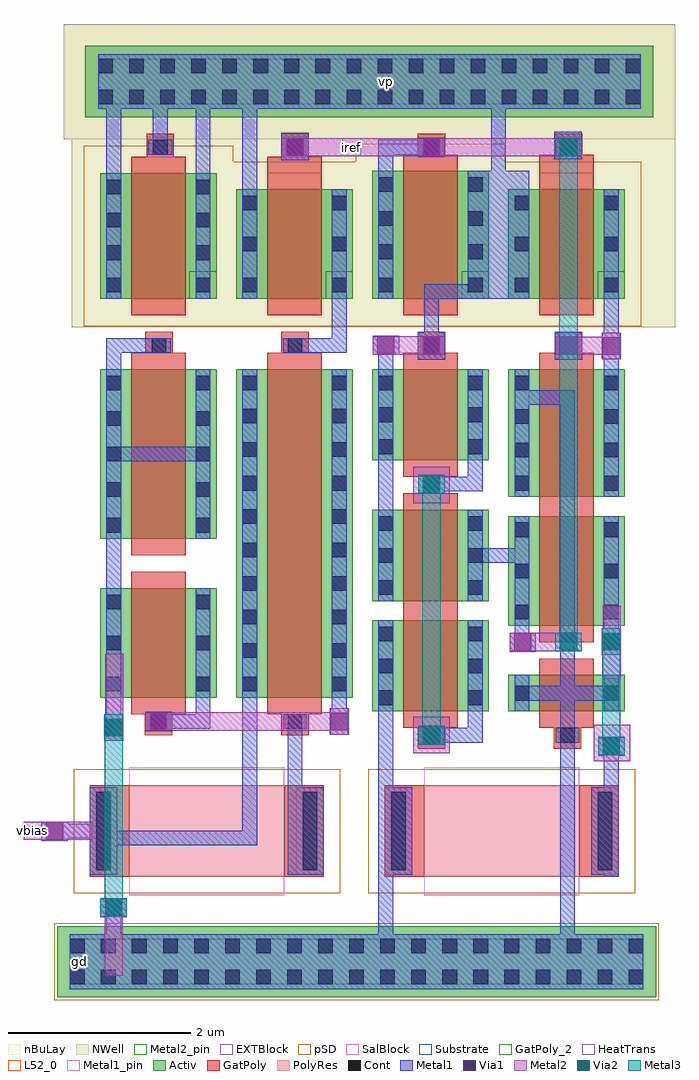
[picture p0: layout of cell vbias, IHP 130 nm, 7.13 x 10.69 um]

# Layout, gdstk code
from math import pi, radians
import gdstk
lib = gdstk.Library(unit=1e-6, precision=1e-09)
def R(c, l, rs):  # rectangles x0, y0, x1, y1
    for r in rs: c.add(gdstk.rectangle(r[:2], r[2:], *l))
def A(c, l, x, y, w, h, nx, ny, dx, dy):  # array of equal rectangles
    R(c, l, [(x+i*dx, y+j*dy, x+i*dx+w, y+j*dy+h) for i in range(nx) for j in range(ny)])
Activ = (1, 0)
GatPoly = (5, 0)
GatPoly_2 = (5, 2)
Cont = (6, 0)
Metal1 = (8, 0)
Metal1_pin = (8, 2)
Metal2 = (10, 0)
Metal2_pin = (10, 2)
pSD = (14, 0)
Via1 = (19, 0)
SalBlock = (28, 0)
Via2 = (29, 0)
Metal3 = (30, 0)
NWell = (31, 0)
nBuLay = (32, 0)
Substrate = (40, 0)
HeatTrans = (51, 0)
L52_0 = (52, 0)
EXTBlock = (111, 0)
PolyRes = (128, 0)

via_19 = lib.new_cell('Via$19')
R(via_19, Metal1, [(-0.145,-0.105,0.145,0.105)])
R(via_19, Metal2, [(-0.145,-0.1,0.145,0.1)])
R(via_19, Via1, [(-0.095,-0.095,0.095,0.095)])

via_18 = lib.new_cell('Via$18')
R(via_18, Metal1, [(-0.145,-0.105,0.145,0.105)])
R(via_18, Metal2, [(-0.145,-0.1,0.145,0.1)])
R(via_18, Via1, [(-0.095,-0.095,0.095,0.095)])

nmos_5 = lib.new_cell('nmos$5')
R(nmos_5, Activ, [(0,0,0.3,0.3), (0,0,1.28,3.6), (0.98,0,1.28,0.3)])
R(nmos_5, GatPoly, [(0.34,-0.18,0.94,3.78)])
R(nmos_5, GatPoly_2, [(0.34,-0.18,0.94,3.78)])
A(nmos_5, Cont, 0.07, 0.07, 0.16, 0.16, 1, 3, 0, 0.365)
A(nmos_5, Cont, 1.05, 0.07, 0.16, 0.16, 1, 3, 0, 0.365)
A(nmos_5, Cont, 0.07, 1.17, 0.16, 0.16, 1, 3, 0, 0.365)
A(nmos_5, Cont, 1.05, 1.17, 0.16, 0.16, 1, 3, 0, 0.365)
A(nmos_5, Cont, 0.07, 2.27, 0.16, 0.16, 1, 3, 0, 0.365)
A(nmos_5, Cont, 1.05, 2.27, 0.16, 0.16, 1, 3, 0, 0.365)
R(nmos_5, Cont, [(0.07,3.37,0.23,3.53), (1.05,3.37,1.21,3.53)])
R(nmos_5, Metal1, [(0.07,0,0.23,3.6), (1.05,0,1.21,3.6)])
R(nmos_5, Metal1_pin, [(0.07,0,0.23,3.6), (1.05,0,1.21,3.6)])
R(nmos_5, HeatTrans, [(0.34,-0.18,0.94,3.78)])
nmos_5.add(gdstk.Label('nmos', (0.64,1.8), layer=63, texttype=0))
nmos_5.add(gdstk.Label('nmos', (0.64,1.8), layer=51, texttype=0))

curr_source_vbias = lib.new_cell('curr_source_vbias')
A(curr_source_vbias, Activ, 1.815, -2.415, 0.78, 0.78, 8, 1, 0.34, 0)
A(curr_source_vbias, Activ, 1.785, 7.225, 0.78, 0.78, 8, 1, 0.34, 0)
R(curr_source_vbias, Activ, [(1.865,0.715,2.165,1.015), (1.865,0.715,3.145,1.715), (2.845,0.715,3.145,1.015), (3.355,0.715,4.635,1.115), (3.355,0.715,3.655,1.015), (4.335,0.715,4.635,1.015), (3.355,1.655,3.655,1.955), (3.355,1.655,4.635,2.855), (4.335,1.655,4.635,1.955), (1.865,1.925,2.165,2.225), (1.865,1.925,3.145,2.925), (2.845,1.925,3.145,2.225), (3.355,3.065,3.655,3.365), (3.355,3.065,4.635,4.465), (4.335,3.065,4.635,3.365), (1.865,3.465,2.165,3.765), (1.865,3.465,3.145,4.465), (2.845,3.465,3.145,3.765), (1.865,5.235,2.165,5.535), (1.865,5.235,3.145,6.635), (2.845,5.235,3.145,5.535), (3.355,5.235,3.655,5.535), (3.355,5.235,4.635,6.435), (4.335,5.235,4.635,5.535)])
R(curr_source_vbias, GatPoly, [(2.005,-1.095,2.235,-0.095), (2.235,-1.095,2.435,-0.095), (4.135,-1.095,4.335,-0.095), (4.335,-1.095,4.565,-0.095), (2.365,0.305,2.665,0.605), (3.855,0.305,4.155,0.605), (2.205,0.535,2.805,1.895), (3.695,0.535,4.295,1.295), (3.695,1.475,4.295,3.035), (2.205,1.745,2.805,3.105), (3.695,2.885,4.295,4.645), (2.205,3.285,2.805,4.645), (2.365,4.575,2.665,4.875), (3.865,4.575,4.165,4.875), (2.205,5.055,2.805,6.815), (3.695,5.055,4.295,6.615), (3.695,6.615,4.295,6.815), (2.365,6.745,2.665,7.045), (3.865,6.745,4.165,7.045)])
R(curr_source_vbias, GatPoly_2, [(2.205,0.535,2.805,1.895), (3.695,0.535,4.295,1.295), (3.695,1.475,4.295,3.035), (2.205,1.745,2.805,3.105), (3.695,2.885,4.295,4.645), (2.205,3.285,2.805,4.645)])
A(curr_source_vbias, Cont, 1.935, 0.785, 0.16, 0.16, 1, 3, 0, 0.35)
A(curr_source_vbias, Cont, 2.915, 0.785, 0.16, 0.16, 1, 3, 0, 0.35)
A(curr_source_vbias, Cont, 3.425, 1.725, 0.16, 0.16, 1, 3, 0, 0.45)
A(curr_source_vbias, Cont, 4.405, 1.725, 0.16, 0.16, 1, 3, 0, 0.45)
A(curr_source_vbias, Cont, 1.935, 1.995, 0.16, 0.16, 1, 3, 0, 0.35)
A(curr_source_vbias, Cont, 2.915, 1.995, 0.16, 0.16, 1, 3, 0, 0.35)
A(curr_source_vbias, Cont, 3.425, 3.135, 0.16, 0.16, 1, 3, 0, 0.365)
A(curr_source_vbias, Cont, 4.405, 3.135, 0.16, 0.16, 1, 3, 0, 0.365)
A(curr_source_vbias, Cont, 1.935, 3.535, 0.16, 0.16, 1, 3, 0, 0.35)
A(curr_source_vbias, Cont, 2.915, 3.535, 0.16, 0.16, 1, 3, 0, 0.35)
A(curr_source_vbias, Cont, 1.935, 5.305, 0.16, 0.16, 1, 3, 0, 0.365)
A(curr_source_vbias, Cont, 2.915, 5.305, 0.16, 0.16, 1, 3, 0, 0.365)
A(curr_source_vbias, Cont, 3.425, 5.305, 0.16, 0.16, 1, 3, 0, 0.45)
A(curr_source_vbias, Cont, 4.405, 5.305, 0.16, 0.16, 1, 3, 0, 0.45)
R(curr_source_vbias, Cont, [(1.955,-2.275,2.115,-2.115), (2.295,-2.275,2.455,-2.115), (2.295,-2.275,2.455,-2.115), (2.635,-2.275,2.795,-2.115), (2.635,-2.275,2.795,-2.115), (2.975,-2.275,3.135,-2.115), (2.975,-2.275,3.135,-2.115), (3.315,-2.275,3.475,-2.115), (3.315,-2.275,3.475,-2.115), (3.655,-2.275,3.815,-2.115), (3.655,-2.275,3.815,-2.115), (3.995,-2.275,4.155,-2.115), (3.995,-2.275,4.155,-2.115), (4.335,-2.275,4.495,-2.115), (4.335,-2.275,4.495,-2.115), (4.675,-2.275,4.835,-2.115), (1.955,-1.935,2.115,-1.775), (2.295,-1.935,2.455,-1.775), (2.295,-1.935,2.455,-1.775), (2.635,-1.935,2.795,-1.775), (2.635,-1.935,2.795,-1.775), (2.975,-1.935,3.135,-1.775), (2.975,-1.935,3.135,-1.775), (3.315,-1.935,3.475,-1.775), (3.315,-1.935,3.475,-1.775), (3.655,-1.935,3.815,-1.775), (3.655,-1.935,3.815,-1.775), (3.995,-1.935,4.155,-1.775), (3.995,-1.935,4.155,-1.775), (4.335,-1.935,4.495,-1.775), (4.335,-1.935,4.495,-1.775), (4.675,-1.935,4.835,-1.775), (2.075,-1.025,2.235,-0.165), (4.335,-1.025,4.495,-0.165), (2.435,0.375,2.595,0.535), (3.925,0.375,4.085,0.535), (3.425,0.835,3.585,0.995), (4.405,0.835,4.565,0.995), (3.425,4.235,3.585,4.395), (4.405,4.235,4.565,4.395), (2.435,4.645,2.595,4.805), (3.935,4.645,4.095,4.805), (1.935,6.405,2.095,6.565), (2.915,6.405,3.075,6.565), (2.435,6.815,2.595,6.975), (3.935,6.815,4.095,6.975), (1.925,7.365,2.085,7.525), (2.265,7.365,2.425,7.525), (2.265,7.365,2.425,7.525), (2.605,7.365,2.765,7.525), (2.605,7.365,2.765,7.525), (2.945,7.365,3.105,7.525), (2.945,7.365,3.105,7.525), (3.285,7.365,3.445,7.525), (3.285,7.365,3.445,7.525), (3.625,7.365,3.785,7.525), (3.625,7.365,3.785,7.525), (3.965,7.365,4.125,7.525), (3.965,7.365,4.125,7.525), (4.305,7.365,4.465,7.525), (4.305,7.365,4.465,7.525), (4.645,7.365,4.805,7.525), (1.925,7.705,2.085,7.865), (2.265,7.705,2.425,7.865), (2.265,7.705,2.425,7.865), (2.605,7.705,2.765,7.865), (2.605,7.705,2.765,7.865), (2.945,7.705,3.105,7.865), (2.945,7.705,3.105,7.865), (3.285,7.705,3.445,7.865), (3.285,7.705,3.445,7.865), (3.625,7.705,3.785,7.865), (3.625,7.705,3.785,7.865), (3.965,7.705,4.125,7.865), (3.965,7.705,4.125,7.865), (4.305,7.705,4.465,7.865), (4.305,7.705,4.465,7.865), (4.645,7.705,4.805,7.865)])
A(curr_source_vbias, Metal1, 1.955, -2.325, 0.5, 0.6, 8, 1, 0.34, 0)
A(curr_source_vbias, Metal1, 1.925, 7.315, 0.5, 0.6, 8, 1, 0.34, 0)
R(curr_source_vbias, Metal1, [(1.935,-2.325,2.095,-1.725), (2.005,-1.075,2.305,-0.115), (4.265,-1.075,4.565,-0.115), (4.34,0.23,4.63,0.44), (2.37,0.35,2.66,0.56), (2.385,0.375,2.645,0.535), (3.875,0.375,4.135,0.535), (1.935,0.715,2.095,1.715), (2.915,0.715,3.075,1.715), (3.425,0.715,3.585,1.115), (4.405,0.715,4.565,1.115), (4.38,1.335,4.59,1.625), (3.37,1.37,3.66,1.58), (3.425,1.655,3.585,2.855), (4.405,1.655,4.565,2.855), (1.935,1.925,2.095,2.925), (2.915,1.925,3.075,2.925), (3.425,3.065,3.585,4.465), (4.405,3.065,4.565,4.465), (2.37,3.1,2.66,3.31), (1.935,3.465,2.095,4.465), (2.915,3.465,3.075,4.465), (2.365,4.57,2.665,4.87), (3.865,4.57,4.165,4.87), (4.38,4.575,4.59,4.865), (3.87,4.615,4.16,4.825), (1.87,4.62,2.16,4.83), (2.37,4.62,2.66,4.83), (2.385,4.645,2.645,4.805), (3.885,4.645,4.145,4.805), (1.935,5.235,2.095,6.635), (2.915,5.235,3.585,6.635), (2.915,5.235,3.075,6.635), (3.425,5.235,3.585,6.435), (4.405,5.235,4.565,6.435), (3.86,6.765,4.16,7.065), (2.37,6.79,2.66,7), (3.87,6.79,4.16,7), (2.385,6.815,2.645,6.975), (3.885,6.815,4.145,6.975)])
A(curr_source_vbias, Metal1_pin, 1.955, -2.275, 0.5, 0.5, 8, 1, 0.34, 0)
A(curr_source_vbias, Metal1_pin, 1.925, 7.365, 0.5, 0.5, 8, 1, 0.34, 0)
R(curr_source_vbias, Metal1_pin, [(1.955,-2.125,2.155,-1.925), (2.005,-1.075,2.305,-0.115), (4.265,-1.075,4.565,-0.115), (1.935,0.715,2.095,1.715), (2.915,0.715,3.075,1.715), (3.425,0.715,3.585,1.115), (4.405,0.715,4.565,1.115), (3.425,1.655,3.585,2.855), (4.405,1.655,4.565,2.855), (1.935,1.925,2.095,2.925), (2.915,1.925,3.075,2.925), (3.425,3.065,3.585,4.465), (4.405,3.065,4.565,4.465), (1.935,3.465,2.095,4.465), (2.915,3.465,3.075,4.465), (1.925,7.545,2.055,7.675)])
R(curr_source_vbias, Metal2, [(4.29,0.17,4.69,0.57), (4.34,0.235,4.63,0.435), (4.34,0.235,4.63,0.435), (2.315,0.255,2.715,0.655), (2.37,0.355,2.66,0.555), (2.37,0.355,2.66,0.555), (4.39,1.075,4.59,1.875), (4.385,1.335,4.585,1.625), (4.385,1.335,4.585,1.625), (3.37,1.375,3.66,1.575), (3.87,1.375,4.16,1.575), (2.315,2.995,2.715,3.395), (2.37,3.105,2.66,3.305), (2.37,3.105,2.66,3.305), (4.385,4.575,4.585,4.865), (3.87,4.62,4.16,4.82), (1.87,4.625,2.16,4.825), (2.37,4.625,2.66,4.825), (2.37,6.795,2.66,6.995), (3.87,6.795,4.16,6.995), (3.87,6.795,4.16,6.995)])
R(curr_source_vbias, Metal2_pin, [(1.54,6.795,1.74,6.995)])
A(curr_source_vbias, pSD, 1.785, -2.445, 0.84, 0.84, 8, 1, 0.34, 0)
R(curr_source_vbias, pSD, [(1.825,-1.275,2.435,0.085), (2.435,-1.275,4.135,0.085), (4.135,-1.275,4.745,0.085), (1.685,4.935,3.325,6.935), (3.175,4.935,4.815,6.735)])
R(curr_source_vbias, Via1, [(4.39,0.24,4.58,0.43), (2.42,0.36,2.61,0.55), (3.42,1.38,3.61,1.57), (4.39,1.385,4.58,1.575), (2.42,3.11,2.61,3.3), (3.92,4.625,4.11,4.815), (4.39,4.625,4.58,4.815), (1.92,4.63,2.11,4.82), (2.42,4.63,2.61,4.82), (2.42,6.8,2.61,6.99), (3.92,6.8,4.11,6.99)])
R(curr_source_vbias, SalBlock, [(2.435,-1.295,4.135,0.105)])
R(curr_source_vbias, Via2, [(4.39,0.24,4.58,0.43), (2.42,0.36,2.61,0.55), (3.92,1.38,4.11,1.57), (4.39,1.385,4.58,1.575), (2.42,3.11,2.61,3.3), (3.92,6.8,4.11,6.99)])
R(curr_source_vbias, Metal3, [(4.34,0.235,4.63,0.435), (2.37,0.355,2.66,0.555), (4.385,1.335,4.585,1.625), (3.87,1.375,4.16,1.575), (2.37,3.105,2.66,3.305), (3.87,6.795,4.16,6.995)])
A(curr_source_vbias, NWell, 1.545, 6.985, 1.26, 1.26, 8, 1, 0.34, 0)
R(curr_source_vbias, NWell, [(1.555,4.925,5.185,8.245), (1.555,4.925,3.455,6.945), (3.045,4.925,4.945,6.745)])
A(curr_source_vbias, nBuLay, 1.545, 6.985, 1.26, 1.26, 8, 1, 0.34, 0)
R(curr_source_vbias, Substrate, [(2.845,5.235,3.145,5.535), (4.335,5.235,4.635,5.535)])
R(curr_source_vbias, HeatTrans, [(2.205,0.535,2.805,1.895), (3.695,0.535,4.295,1.295), (3.695,1.475,4.295,3.035), (2.205,1.745,2.805,3.105), (3.695,2.885,4.295,4.645), (2.205,3.285,2.805,4.645), (2.205,5.055,2.805,6.815), (3.695,5.055,4.295,6.615)])
R(curr_source_vbias, L52_0, [(2.435,-1.095,4.135,-0.095)])
R(curr_source_vbias, EXTBlock, [(2.435,-1.295,4.135,0.105), (1.825,-1.275,2.435,0.085), (4.135,-1.275,4.745,0.085)])
R(curr_source_vbias, PolyRes, [(2.435,-1.095,4.135,-0.095)])
curr_source_vbias.add(gdstk.FlexPath([(2.515,0.455),(2.515,0.455)], 0.16, ends="flush", simple_path=True, layer=8, datatype=0))  # Metal1
curr_source_vbias.add(gdstk.FlexPath([(4.485,4.72),(4.485,4.72)], 0.16, ends="flush", simple_path=True, layer=8, datatype=0))  # Metal1
curr_source_vbias.add(gdstk.FlexPath([(2.515,4.725),(2.515,4.725)], 0.16, ends="flush", simple_path=True, layer=8, datatype=0))  # Metal1
curr_source_vbias.add(gdstk.FlexPath([(4.015,6.895),(4.015,6.895)], 0.16, ends="flush", simple_path=True, layer=8, datatype=0))  # Metal1
curr_source_vbias.add(gdstk.FlexPath([(2.995,0.715),(2.995,0.375)], 0.16, ends="flush", simple_path=True, layer=8, datatype=0))  # Metal1
curr_source_vbias.add(gdstk.FlexPath([(2.645,0.455),(3.075,0.455)], 0.16, ends="flush", simple_path=True, layer=8, datatype=0))  # Metal1
curr_source_vbias.add(gdstk.FlexPath([(2.015,4.465),(2.015,4.62)], 0.16, ends="flush", simple_path=True, layer=8, datatype=0))  # Metal1
curr_source_vbias.add(gdstk.FlexPath([(4.005,-0.815),(4.005,-1.775)], 0.16, ends="flush", simple_path=True, layer=8, datatype=0))  # Metal1
curr_source_vbias.add(gdstk.FlexPath([(2.015,2.925),(2.015,3.465)], 0.16, ends="flush", simple_path=True, layer=8, datatype=0))  # Metal1
curr_source_vbias.add(gdstk.FlexPath([(3.25,6.635),(3.25,7.315)], 0.16, ends="flush", simple_path=True, layer=8, datatype=0))  # Metal1
curr_source_vbias.add(gdstk.FlexPath([(2.515,3.205),(3.075,3.205)], 0.16, ends="flush", simple_path=True, layer=8, datatype=0))  # Metal1
curr_source_vbias.add(gdstk.FlexPath([(2.995,3.465),(2.995,3.285)], 0.16, ends="flush", simple_path=True, layer=8, datatype=0))  # Metal1
curr_source_vbias.add(gdstk.FlexPath([(3.995,0.915),(4.405,0.915)], 0.16, ends="flush", simple_path=True, layer=8, datatype=0))  # Metal1
curr_source_vbias.add(gdstk.FlexPath([(3.995,0.915),(3.585,0.915),(3.585,0.915)], 0.16, ends="flush", simple_path=True, layer=8, datatype=0))  # Metal1
curr_source_vbias.add(gdstk.FlexPath([(4.485,0.335),(4.485,-1.095)], 0.16, ends="flush", simple_path=True, layer=8, datatype=0))  # Metal1
curr_source_vbias.add(gdstk.FlexPath([(3.505,1.655),(3.505,1.575)], 0.16, ends="flush", simple_path=True, layer=8, datatype=0))  # Metal1
curr_source_vbias.add(gdstk.FlexPath([(2.915,5.315),(2.435,5.315)], 0.16, ends="flush", simple_path=True, layer=8, datatype=0))  # Metal1
curr_source_vbias.add(gdstk.FlexPath([(2.995,3.34),(2.995,3.125)], 0.16, ends="flush", simple_path=True, layer=8, datatype=0))  # Metal1
curr_source_vbias.add(gdstk.FlexPath([(2.015,0.715),(2.015,-1.725),(2.015,-1.725)], 0.16, ends="flush", simple_path=True, layer=8, datatype=0))  # Metal1
curr_source_vbias.add(gdstk.FlexPath([(3.575,4.155),(4.005,4.155),(4.005,-0.965)], 0.16, ends="flush", simple_path=True, layer=8, datatype=0))  # Metal1
curr_source_vbias.add(gdstk.FlexPath([(4.485,1.655),(4.485,1.48)], 0.16, ends="flush", simple_path=True, layer=8, datatype=0))  # Metal1
curr_source_vbias.add(gdstk.FlexPath([(2.515,4.805),(2.515,5.2)], 0.16, ends="flush", simple_path=True, layer=8, datatype=0))  # Metal1
curr_source_vbias.add(gdstk.FlexPath([(3.075,2.425),(3.425,2.425)], 0.16, ends="flush", simple_path=True, layer=8, datatype=0))  # Metal1
curr_source_vbias.add(gdstk.FlexPath([(4.485,4.49),(4.485,4.465)], 0.16, ends="flush", simple_path=True, layer=8, datatype=0))  # Metal1
curr_source_vbias.add(gdstk.FlexPath([(4.485,5.235),(4.485,4.48)], 0.16, ends="flush", simple_path=True, layer=8, datatype=0))  # Metal1
curr_source_vbias.add(gdstk.FlexPath([(2.515,5.15),(2.515,5.395)], 0.16, ends="flush", simple_path=True, layer=8, datatype=0))  # Metal1
curr_source_vbias.add(gdstk.FlexPath([(2.365,6.895),(2.515,6.895)], 0.16, ends="flush", simple_path=True, layer=8, datatype=0))  # Metal1
curr_source_vbias.add(gdstk.FlexPath([(2.015,6.635),(2.015,6.885),(2.015,6.89),(2.015,6.895),(2.385,6.895),(2.385,6.895),(2.385,6.895)], 0.16, ends="flush", simple_path=True, layer=8, datatype=0))  # Metal1
curr_source_vbias.add(gdstk.FlexPath([(4.485,0.335),(4.485,0.335)], 0.2, ends="flush", simple_path=True, layer=10, datatype=0))  # Metal2
curr_source_vbias.add(gdstk.FlexPath([(2.515,0.455),(2.515,0.455)], 0.2, ends="flush", simple_path=True, layer=10, datatype=0))  # Metal2
curr_source_vbias.add(gdstk.FlexPath([(4.485,1.48),(4.485,1.48)], 0.2, ends="flush", simple_path=True, layer=10, datatype=0))  # Metal2
curr_source_vbias.add(gdstk.FlexPath([(2.515,3.205),(2.515,3.205)], 0.2, ends="flush", simple_path=True, layer=10, datatype=0))  # Metal2
curr_source_vbias.add(gdstk.FlexPath([(4.015,1.475),(3.65,1.475)], 0.2, ends="flush", simple_path=True, layer=10, datatype=0))  # Metal2
curr_source_vbias.add(gdstk.FlexPath([(2.515,6.895),(1.54,6.895)], 0.2, ends="flush", simple_path=True, layer=10, datatype=0))  # Metal2
curr_source_vbias.add(gdstk.FlexPath([(2.515,6.895),(4.015,6.895)], 0.2, ends="flush", simple_path=True, layer=10, datatype=0))  # Metal2
curr_source_vbias.add(gdstk.FlexPath([(2.515,4.725),(1.87,4.725)], 0.2, ends="flush", simple_path=True, layer=10, datatype=0))  # Metal2
curr_source_vbias.add(gdstk.FlexPath([(4.015,4.72),(4.485,4.72)], 0.2, ends="flush", simple_path=True, layer=10, datatype=0))  # Metal2
curr_source_vbias.add(gdstk.FlexPath([(3.695,1.475),(3.515,1.475)], 0.16, ends="flush", simple_path=True, layer=10, datatype=0))  # Metal2
curr_source_vbias.add(gdstk.FlexPath([(4.015,6.895),(4.015,6.895)], 0.16, ends="flush", simple_path=True, layer=10, datatype=0))  # Metal2
curr_source_vbias.add(gdstk.FlexPath([(4.485,1.48),(4.485,0.335)], 0.2, ends="flush", simple_path=True, layer=30, datatype=0))  # Metal3
curr_source_vbias.add(gdstk.FlexPath([(2.515,2.96),(2.515,3.18)], 0.2, ends="flush", simple_path=True, layer=30, datatype=0))  # Metal3
curr_source_vbias.add(gdstk.FlexPath([(4.015,1.58),(4.015,1.475)], 0.2, ends="flush", simple_path=True, layer=30, datatype=0))  # Metal3
curr_source_vbias.add(gdstk.FlexPath([(2.515,0.455),(2.515,2.99)], 0.2, ends="flush", simple_path=True, layer=30, datatype=0))  # Metal3
curr_source_vbias.add(gdstk.FlexPath([(2.515,3.14),(2.515,3.205)], 0.2, ends="flush", simple_path=True, layer=30, datatype=0))  # Metal3
curr_source_vbias.add(gdstk.FlexPath([(4.015,6.895),(4.015,1.58)], 0.2, ends="flush", simple_path=True, layer=30, datatype=0))  # Metal3
curr_source_vbias.add(gdstk.Label('nmos', (3.995,0.915), layer=63, texttype=0))
curr_source_vbias.add(gdstk.Label('pmos', (3.995,5.835), layer=63, texttype=0))
curr_source_vbias.add(gdstk.Label('pmos', (2.505,5.935), layer=63, texttype=0))
curr_source_vbias.add(gdstk.Label('rppd r=509.364', (3.285,-0.595), layer=63, texttype=0))
curr_source_vbias.add(gdstk.Label('nmos', (2.505,1.215), layer=63, texttype=0))
curr_source_vbias.add(gdstk.Label('nmos', (2.505,2.425), layer=63, texttype=0))
curr_source_vbias.add(gdstk.Label('nmos', (2.505,3.965), layer=63, texttype=0))
curr_source_vbias.add(gdstk.Label('nmos', (3.995,3.765), layer=63, texttype=0))
curr_source_vbias.add(gdstk.Label('nmos', (3.995,2.255), layer=63, texttype=0))
curr_source_vbias.add(gdstk.Label('nmos', (3.995,0.915), layer=51, texttype=0))
curr_source_vbias.add(gdstk.Label('pmos', (3.995,5.835), layer=51, texttype=0))
curr_source_vbias.add(gdstk.Label('pmos', (2.505,5.935), layer=51, texttype=0))
curr_source_vbias.add(gdstk.Label('nmos', (2.505,1.215), layer=51, texttype=0))
curr_source_vbias.add(gdstk.Label('nmos', (2.505,2.425), layer=51, texttype=0))
curr_source_vbias.add(gdstk.Label('nmos', (2.505,3.965), layer=51, texttype=0))
curr_source_vbias.add(gdstk.Label('nmos', (3.995,3.765), layer=51, texttype=0))
curr_source_vbias.add(gdstk.Label('nmos', (3.995,2.255), layer=51, texttype=0))
curr_source_vbias.add(gdstk.Label('rppd', (3.285,-0.595), layer=52, texttype=0))
curr_source_vbias.add(gdstk.Label('gd', (2.055,-2.025), layer=8, texttype=25))
curr_source_vbias.add(gdstk.Label('vp', (1.99,7.61), layer=8, texttype=25))
curr_source_vbias.add(gdstk.Label('iref', (1.567,6.897), layer=10, texttype=25))

nmos_4 = lib.new_cell('nmos$4')
R(nmos_4, Activ, [(0,0,0.3,0.3), (0,0,1.28,1.2), (0.98,0,1.28,0.3)])
R(nmos_4, GatPoly, [(0.34,-0.18,0.94,1.38)])
R(nmos_4, GatPoly_2, [(0.34,-0.18,0.94,1.38)])
A(nmos_4, Cont, 0.07, 0.07, 0.16, 0.16, 1, 3, 0, 0.45)
A(nmos_4, Cont, 1.05, 0.07, 0.16, 0.16, 1, 3, 0, 0.45)
R(nmos_4, Metal1, [(0.07,0,0.23,1.2), (1.05,0,1.21,1.2)])
R(nmos_4, Metal1_pin, [(0.07,0,0.23,1.2), (1.05,0,1.21,1.2)])
R(nmos_4, HeatTrans, [(0.34,-0.18,0.94,1.38)])
nmos_4.add(gdstk.Label('nmos', (0.64,0.6), layer=63, texttype=0))
nmos_4.add(gdstk.Label('nmos', (0.64,0.6), layer=51, texttype=0))

rppd_2 = lib.new_cell('rppd$2')
R(rppd_2, GatPoly, [(0,-0.43,1,-0.2), (0,-0.2,1,0), (0,1.7,1,1.9), (0,1.9,1,2.13)])
R(rppd_2, Cont, [(0.07,-0.36,0.93,-0.2), (0.07,1.9,0.93,2.06)])
R(rppd_2, Metal1, [(0.02,-0.43,0.98,-0.13), (0.02,1.83,0.98,2.13)])
R(rppd_2, Metal1_pin, [(0.02,-0.43,0.98,-0.13), (0.02,1.83,0.98,2.13)])
R(rppd_2, pSD, [(-0.18,-0.61,1.18,0), (-0.18,0,1.18,1.7), (-0.18,1.7,1.18,2.31)])
R(rppd_2, SalBlock, [(-0.2,0,1.2,1.7)])
R(rppd_2, L52_0, [(0,0,1,1.7)])
R(rppd_2, EXTBlock, [(-0.18,-0.61,1.18,0), (-0.2,0,1.2,1.7), (-0.18,1.7,1.18,2.31)])
R(rppd_2, PolyRes, [(0,0,1,1.7)])
rppd_2.add(gdstk.Label('rppd r=509.364', (0.5,0.85), layer=63, texttype=0))
rppd_2.add(gdstk.Label('rppd', (0.5,0.85), layer=52, texttype=0))

ntap_1_1 = lib.new_cell('ntap$1$1')
R(ntap_1_1, Activ, [(-0.09,-0.315,0.69,0.465)])
R(ntap_1_1, Cont, [(0.05,-0.175,0.21,-0.015), (0.39,-0.175,0.55,-0.015), (0.05,0.165,0.21,0.325), (0.39,0.165,0.55,0.325)])
R(ntap_1_1, Metal1, [(0.05,-0.225,0.55,0.375)])
R(ntap_1_1, Metal1_pin, [(0.05,-0.175,0.55,0.325)])
R(ntap_1_1, NWell, [(-0.33,-0.555,0.93,0.705)])
R(ntap_1_1, nBuLay, [(-0.33,-0.555,0.93,0.705)])

pmos_2 = lib.new_cell('pmos$2')
R(pmos_2, Activ, [(0,0,0.3,0.3), (0,0,1.28,1.2), (0.98,0,1.28,0.3)])
R(pmos_2, GatPoly, [(0.34,-0.18,0.94,1.38), (0.34,-0.18,0.94,1.38)])
A(pmos_2, Cont, 0.07, 0.07, 0.16, 0.16, 1, 3, 0, 0.45)
A(pmos_2, Cont, 1.05, 0.07, 0.16, 0.16, 1, 3, 0, 0.45)
R(pmos_2, Metal1, [(0.07,0,0.23,1.2), (0.07,0,0.23,1.2), (1.05,0,1.21,1.2), (1.05,0,1.21,1.2)])
R(pmos_2, pSD, [(-0.18,-0.3,1.46,1.5)])
R(pmos_2, NWell, [(-0.31,-0.31,1.59,1.51)])
R(pmos_2, Substrate, [(0.98,0,1.28,0.3)])
R(pmos_2, HeatTrans, [(0.34,-0.18,0.94,1.38)])
pmos_2.add(gdstk.Label('pmos', (0.64,0.6), layer=63, texttype=0))
pmos_2.add(gdstk.Label('pmos', (0.64,0.6), layer=51, texttype=0))

pmos_3 = lib.new_cell('pmos$3')
R(pmos_3, Activ, [(0,0,0.3,0.3), (0,0,1.28,1.375), (0.98,0,1.28,0.3)])
R(pmos_3, GatPoly, [(0.34,-0.18,0.94,1.555), (0.34,-0.18,0.94,1.555)])
A(pmos_3, Cont, 0.07, 0.425, 0.16, 0.16, 1, 3, 0, 0.36)
A(pmos_3, Cont, 1.05, 0.425, 0.16, 0.16, 1, 3, 0, 0.36)
R(pmos_3, Cont, [(0.07,0.07,0.23,0.23), (1.05,0.07,1.21,0.23)])
R(pmos_3, Metal1, [(0.07,0,0.23,1.375), (0.07,0,0.23,1.375), (1.05,0,1.21,1.375), (1.05,0,1.21,1.375)])
R(pmos_3, pSD, [(-0.18,-0.3,1.46,1.675)])
R(pmos_3, NWell, [(-0.31,-0.31,1.59,1.685)])
R(pmos_3, Substrate, [(0.98,0,1.28,0.3)])
R(pmos_3, HeatTrans, [(0.34,-0.18,0.94,1.555)])
pmos_3.add(gdstk.Label('pmos', (0.64,0.688), layer=63, texttype=0))
pmos_3.add(gdstk.Label('pmos', (0.64,0.688), layer=51, texttype=0))

ptap_1_1 = lib.new_cell('ptap$1$1')
R(ptap_1_1, Activ, [(-0.425,-1.215,0.355,-0.435)])
R(ptap_1_1, Cont, [(-0.285,-1.075,-0.125,-0.915), (0.055,-1.075,0.215,-0.915), (-0.285,-0.735,-0.125,-0.575), (0.055,-0.735,0.215,-0.575)])
R(ptap_1_1, Metal1, [(-0.285,-1.125,0.215,-0.525)])
R(ptap_1_1, Metal1_pin, [(-0.285,-1.075,0.215,-0.575)])
R(ptap_1_1, pSD, [(-0.455,-1.245,0.385,-0.405)])

via_15 = lib.new_cell('Via$15')
R(via_15, Metal1, [(-0.145,-0.105,0.145,0.105)])
R(via_15, Metal2, [(-0.145,-0.1,0.145,0.1)])
R(via_15, Via1, [(-0.095,-0.095,0.095,0.095)])

nmos_6 = lib.new_cell('nmos$6')
R(nmos_6, Activ, [(0,0,0.3,0.3), (0,0,1.28,1.86), (0.98,0,1.28,0.3)])
R(nmos_6, GatPoly, [(0.34,-0.18,0.94,2.04)])
R(nmos_6, GatPoly_2, [(0.34,-0.18,0.94,2.04)])
A(nmos_6, Cont, 0.07, 0.07, 0.16, 0.16, 1, 5, 0, 0.39)
A(nmos_6, Cont, 1.05, 0.07, 0.16, 0.16, 1, 5, 0, 0.39)
R(nmos_6, Metal1, [(0.07,0,0.23,1.86), (1.05,0,1.21,1.86)])
R(nmos_6, Metal1_pin, [(0.07,0,0.23,1.86), (1.05,0,1.21,1.86)])
R(nmos_6, HeatTrans, [(0.34,-0.18,0.94,2.04)])
nmos_6.add(gdstk.Label('nmos', (0.64,0.93), layer=63, texttype=0))
nmos_6.add(gdstk.Label('nmos', (0.64,0.93), layer=51, texttype=0))

via_14 = lib.new_cell('Via$14')
R(via_14, Metal1, [(-0.145,-0.105,0.145,0.105)])
R(via_14, Metal2, [(-0.145,-0.1,0.145,0.1)])
R(via_14, Via1, [(-0.095,-0.095,0.095,0.095)])

via_12 = lib.new_cell('Via$12')
R(via_12, Metal1, [(-0.145,-0.105,0.145,0.105)])
R(via_12, Metal2, [(-0.145,-0.1,0.145,0.1)])
R(via_12, Via1, [(-0.095,-0.095,0.095,0.095)])

via_11 = lib.new_cell('Via$11')
R(via_11, GatPoly, [(-0.15,-0.15,0.15,0.15)])
R(via_11, Cont, [(-0.08,-0.08,0.08,0.08)])
R(via_11, Metal1, [(-0.13,-0.08,0.13,0.08)])

via_16 = lib.new_cell('Via$16')
R(via_16, Metal2, [(-0.145,-0.1,0.145,0.1)])
R(via_16, Via2, [(-0.095,-0.095,0.095,0.095)])
R(via_16, Metal3, [(-0.145,-0.1,0.145,0.1)])

vbias = lib.new_cell('vbias')
R(vbias, GatPoly, [(9.015,17.53,9.615,17.705)])
R(vbias, Metal1, [(9.24,9.84,9.635,10.8), (9.17,17.67,9.47,17.97)])
R(vbias, Metal1_pin, [(6.855,8.79,7.055,8.99), (10.225,18.43,10.425,18.63)])
R(vbias, Metal2, [(7.235,8.735,7.435,9.485), (6.35,10.225,7.1,10.425), (7.24,11.51,7.44,12.26)])
R(vbias, Metal2_pin, [(6.35,10.225,6.55,10.425), (9.84,17.71,10.04,17.91)])
R(vbias, NWell, [(6.875,15.84,8.775,19.16), (8.365,15.84,11.155,19.16)])
vbias.add(gdstk.FlexPath([(7.335,11.455),(7.335,11.78),(7.335,11.78)], 0.16, ends="flush", simple_path=True, layer=8, datatype=0))  # Metal1
vbias.add(gdstk.FlexPath([(8.315,11.78),(8.315,11.44)], 0.16, ends="flush", simple_path=True, layer=8, datatype=0))  # Metal1
vbias.add(gdstk.FlexPath([(7.825,11.52),(8.395,11.52)], 0.16, ends="flush", simple_path=True, layer=8, datatype=0))  # Metal1
vbias.add(gdstk.FlexPath([(7.335,9.48),(7.335,9.19)], 0.16, ends="flush", simple_path=True, layer=8, datatype=0))  # Metal1
vbias.add(gdstk.FlexPath([(7.845,17.81),(7.845,18.23)], 0.16, ends="flush", simple_path=True, layer=8, datatype=0))  # Metal1
vbias.add(gdstk.FlexPath([(7.335,17.525),(7.335,18.23)], 0.16, ends="flush", simple_path=True, layer=8, datatype=0))  # Metal1
vbias.add(gdstk.FlexPath([(8.315,17.525),(8.315,18.23),(8.315,18.23)], 0.16, ends="flush", simple_path=True, layer=8, datatype=0))  # Metal1
vbias.add(gdstk.FlexPath([(8.235,14.45),(7.415,14.45)], 0.16, ends="flush", simple_path=True, layer=8, datatype=0))  # Metal1
vbias.add(gdstk.FlexPath([(7.075,10.32),(6.685,10.32)], 0.16, ends="flush", simple_path=True, layer=8, datatype=0))  # Metal1
vbias.add(gdstk.FlexPath([(7.83,15.64),(7.255,15.64)], 0.16, ends="flush", simple_path=True, layer=8, datatype=0))  # Metal1
vbias.add(gdstk.FlexPath([(7.335,15.38),(7.335,15.72)], 0.16, ends="flush", simple_path=True, layer=8, datatype=0))  # Metal1
vbias.add(gdstk.FlexPath([(9.32,11.52),(9.32,9.84)], 0.16, ends="flush", simple_path=True, layer=8, datatype=0))  # Metal1
vbias.add(gdstk.FlexPath([(7.825,11.52),(7.825,11.52)], 0.16, ends="flush", simple_path=True, layer=8, datatype=0))  # Metal1
vbias.add(gdstk.FlexPath([(9.32,17.81),(9.32,17.81)], 0.16, ends="flush", simple_path=True, layer=8, datatype=0))  # Metal1
vbias.add(gdstk.FlexPath([(9.45,15.64),(9.885,15.64)], 0.16, ends="flush", simple_path=True, layer=8, datatype=0))  # Metal1
vbias.add(gdstk.FlexPath([(8.825,11.78),(8.825,10.245),(7.375,10.245)], 0.16, ends="flush", simple_path=True, layer=8, datatype=0))  # Metal1
vbias.add(gdstk.FlexPath([(9.805,16.15),(9.805,15.56)], 0.16, ends="flush", simple_path=True, layer=8, datatype=0))  # Metal1
vbias.add(gdstk.FlexPath([(7.335,13.52),(7.335,12.98)], 0.16, ends="flush", simple_path=True, layer=8, datatype=0))  # Metal1
vbias.add(gdstk.FlexPath([(8.825,17.35),(8.825,18.23)], 0.16, ends="flush", simple_path=True, layer=8, datatype=0))  # Metal1
vbias.add(gdstk.FlexPath([(9.805,11.78),(9.805,11.615)], 0.16, ends="flush", simple_path=True, layer=8, datatype=0))  # Metal1
vbias.add(gdstk.FlexPath([(7.335,9.48),(7.335,9.48)], 0.2, ends="flush", simple_path=True, layer=10, datatype=0))  # Metal2
vbias.add(gdstk.FlexPath([(7.335,11.455),(7.335,11.455)], 0.2, ends="flush", simple_path=True, layer=10, datatype=0))  # Metal2
vbias.add(gdstk.FlexPath([(7.905,11.52),(7.825,11.52)], 0.2, ends="flush", simple_path=True, layer=10, datatype=0))  # Metal2
vbias.add(gdstk.FlexPath([(7.885,11.52),(9.805,11.52)], 0.2, ends="flush", simple_path=True, layer=10, datatype=0))  # Metal2
vbias.add(gdstk.FlexPath([(9.94,17.81),(9.32,17.81)], 0.2, ends="flush", simple_path=True, layer=10, datatype=0))  # Metal2
vbias.add(gdstk.FlexPath([(7.335,11.475),(7.335,9.48)], 0.2, ends="flush", simple_path=True, layer=30, datatype=0))  # Metal3
vbias.add(gdstk.Reference(via_19, (6.685,10.32)))
vbias.add(gdstk.Reference(via_18, (7.335,9.48)))
vbias.add(gdstk.Reference(nmos_5, (9.955,15.38), rotation=pi))
vbias.add(gdstk.Reference(curr_source_vbias, (8.3,10.915)))
vbias.add(gdstk.Reference(nmos_4, (7.185,11.78)))
vbias.add(gdstk.Reference(rppd_2, (7.505,10.82), rotation=3*pi/2))
vbias.add(gdstk.Reference(ntap_1_1, (7.115,18.455)))
vbias.add(gdstk.Reference(ntap_1_1, (7.455,18.455)))
vbias.add(gdstk.Reference(ntap_1_1, (7.795,18.455)))
vbias.add(gdstk.Reference(ntap_1_1, (8.135,18.455)))
vbias.add(gdstk.Reference(ntap_1_1, (8.475,18.455)))
vbias.add(gdstk.Reference(ntap_1_1, (8.815,18.455)))
vbias.add(gdstk.Reference(ntap_1_1, (9.155,18.455)))
vbias.add(gdstk.Reference(ntap_1_1, (9.495,18.455)))
vbias.add(gdstk.Reference(ntap_1_1, (9.835,18.455)))
vbias.add(gdstk.Reference(pmos_2, (8.675,16.15)))
vbias.add(gdstk.Reference(pmos_3, (7.185,16.15)))
vbias.add(gdstk.Reference(ptap_1_1, (7.14,9.715)))
vbias.add(gdstk.Reference(ptap_1_1, (7.48,9.715)))
vbias.add(gdstk.Reference(ptap_1_1, (7.82,9.715)))
vbias.add(gdstk.Reference(ptap_1_1, (8.16,9.715)))
vbias.add(gdstk.Reference(ptap_1_1, (8.5,9.715)))
vbias.add(gdstk.Reference(ptap_1_1, (8.84,9.715)))
vbias.add(gdstk.Reference(ptap_1_1, (9.18,9.715)))
vbias.add(gdstk.Reference(ptap_1_1, (9.52,9.715)))
vbias.add(gdstk.Reference(ptap_1_1, (9.86,9.715)))
vbias.add(gdstk.Reference(ptap_1_1, (10.2,9.715)))
vbias.add(gdstk.Reference(via_15, (9.805,11.52), rotation=3*pi/2))
vbias.add(gdstk.Reference(nmos_6, (7.185,13.52)))
vbias.add(gdstk.Reference(via_14, (7.825,11.52)))
vbias.add(gdstk.Reference(via_14, (9.32,17.81)))
vbias.add(gdstk.Reference(via_12, (7.335,11.455), rotation=3*pi/2))
vbias.add(gdstk.Reference(via_11, (7.825,11.52)))
vbias.add(gdstk.Reference(via_11, (9.32,11.52)))
vbias.add(gdstk.Reference(via_11, (7.83,15.64)))
vbias.add(gdstk.Reference(via_11, (9.32,15.64)))
vbias.add(gdstk.Reference(via_11, (7.845,17.81)))
vbias.add(gdstk.Reference(via_11, (9.32,17.81)))
vbias.add(gdstk.Reference(via_16, (7.335,11.455), rotation=3*pi/2))
vbias.add(gdstk.Reference(via_16, (7.335,9.48)))
vbias.add(gdstk.Label('gd', (6.955,8.89), layer=8, texttype=25))
vbias.add(gdstk.Label('vp', (10.325,18.53), layer=8, texttype=25))
vbias.add(gdstk.Label('vbias', (6.45,10.325), layer=10, texttype=25))
vbias.add(gdstk.Label('iref', (9.94,17.81), layer=10, texttype=25))

lib.write_gds('vbias.gds')
